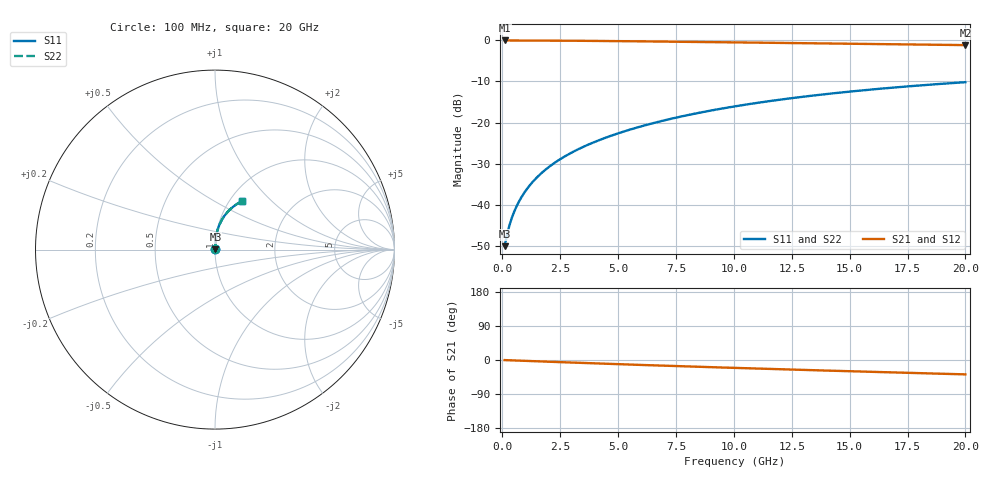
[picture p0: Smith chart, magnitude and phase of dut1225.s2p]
! Touchstone file exported from HFSS 2024.1.0
!  File:  C:/UserFiles/LocalFiles/RDL_TSV_Batchsim/temp_RDL_bottom_1225_1780244328.aedt
!  Generated:  12:21:00 AM Jun  1, 2026
!  Design:  RDL_bottom
!  Project:  temp_RDL_bottom_1225_1780244328
!  Setup:  Setup1
!  Solution:  Sweep
! Variables:
!  dtsv = 10.80580581um
!  hbump = 3um
!  htsv = 68.76um
!  ldown = 578.23um
!  lrdl = 100um
!  p = 40
!  p1 = 42.42um
!  rhole = 1um
!  t = 450um
!  tdown = 3.74um
!  trdl = 3.915915916um
!  wdown = 22.07um
!  wrdl = 20um
# GHz S MA R 50.000000
! Terminal data exported
! Port[1] = RDL1_T1
! Port[2] = RDL1_T2
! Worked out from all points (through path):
!   200 points, 100 MHz to 20 GHz, reference 50 ohm
!   highest |S21| = -0.02 dB at 100 MHz (marker M1); lowest = -1.2 dB at 20 GHz (marker M2)
!   group delay of S21, straight-line fit = 5.22 ps
!   lowest |S11| = -50.0 dB at 100 MHz (marker M3), VSWR 1.01, Z = 50.3 + j0.165 ohm
!   |S11| at or under -10 dB: start of sweep to end of sweep
!   |S22| runs from -50.0 to -10.2 dB; largest |S21 - S12| = 3.7e-15
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0.1  0.003147 31.4  0.9973 -0.2  0.9973 -0.2  0.003147 31.4
! Gamma 0 0 0 0
! Port Impedance 50 0 50 0
0.2  0.004271 48.3  0.9971 -0.5  0.9971 -0.5  0.004271 48.3
0.3  0.005528 57.1  0.9969 -0.7  0.9969 -0.7  0.005528 57.1
0.4  0.006804 62.6  0.9967 -0.9  0.9967 -0.9  0.006804 62.6
0.5  0.00809 66.5  0.9966 -1.2  0.9966 -1.2  0.00809 66.5
0.6  0.00939 69.5  0.9964 -1.4  0.9964 -1.4  0.00939 69.5
0.8  0.01203 73.6  0.9961 -1.8  0.9961 -1.8  0.01203 73.6
1  0.01473 76.4  0.9958 -2.3  0.9958 -2.3  0.01473 76.5
1.2  0.01747 78.4  0.9954 -2.7  0.9954 -2.7  0.01747 78.4
1.4  0.02024 79.9  0.9949 -3.2  0.9949 -3.2  0.02024 79.9
1.7  0.02445 81.4  0.9942 -3.9  0.9942 -3.9  0.02445 81.5
2.2  0.03158 83.1  0.9927 -5.0  0.9927 -5.0  0.03158 83.1
2.8  0.04032 84.1  0.9904 -6.3  0.9904 -6.3  0.04032 84.1
3.5  0.05077 84.7  0.9873 -7.8  0.9873 -7.8  0.05077 84.7
4.2  0.06148 84.8  0.9837 -9.3  0.9837 -9.3  0.06148 84.8
5  0.07403 84.5  0.9791 -11.0  0.9791 -11.0  0.07403 84.5
6.8  0.1033 83.0  0.9675 -14.6  0.9675 -14.6  0.1033 83.0
8.4  0.13 80.9  0.9566 -17.7  0.9566 -17.7  0.13 80.9
10.1  0.1586 78.2  0.9446 -20.9  0.9446 -20.9  0.1586 78.2
13.4  0.213 72.4  0.9214 -26.9  0.9214 -26.9  0.213 72.4
16.7  0.2639 66.5  0.8984 -32.5  0.8984 -32.5  0.2639 66.5
20  0.3102 60.7  0.8756 -37.9  0.8756 -37.9  0.3103 60.7
